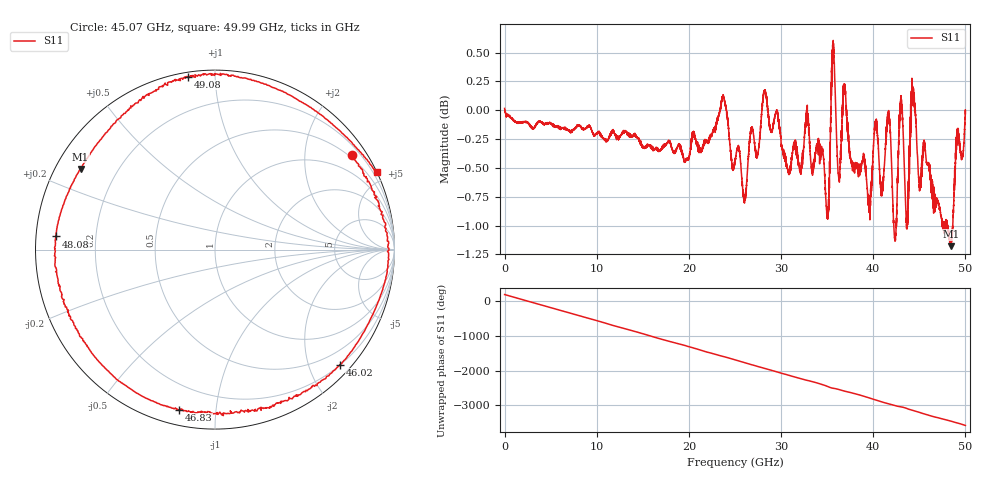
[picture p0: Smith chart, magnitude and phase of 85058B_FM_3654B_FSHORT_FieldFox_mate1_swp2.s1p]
!Created with skrf (http://scikit-rf.org).
# Hz S RI R 50.0
!freq ReS11 ImS11
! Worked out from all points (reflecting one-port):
!   10000 points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, 5.3 MHz to 50 GHz, reference 50 ohm
!   lowest |S11| = -1.2 dB at 48.42 GHz (marker M1), VSWR 14.76, Z = 3.65 + j13.8 ohm
!   phase of S11 starts at 180 deg and turns -3755 deg over the sweep
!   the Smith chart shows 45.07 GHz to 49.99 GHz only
!   S11 on the Smith chart (normalised r, x): 45.07 GHz: 0.43, +3.15; 46.02 GHz: 0.20, -2.54; 46.83 GHz: 0.07, -0.80; 48.08 GHz: 0.06, +0.04; 49.08 GHz: 0.02, +0.85; 49.99 GHz: 0.02, +4.41
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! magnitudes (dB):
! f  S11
! 5.3 MHz  0.0
! 6.255 GHz  -0.2
! 12.51 GHz  -0.2
! 18.76 GHz  -0.3
! 23.74 GHz  0.1
! 25.01 GHz  -0.4
! 26.07 GHz  -0.8
! 28.25 GHz  0.2
! 31.26 GHz  -0.4
! 35.01 GHz  -0.9
! 35.68 GHz  0.5
! 36.24 GHz  -0.6
! 36.88 GHz  0.2
! 37.51 GHz  -0.4
! 39.58 GHz  -0.8
! 41.66 GHz  0.0
! 42.35 GHz  -1.1
! 43.04 GHz  0.1
! 43.76 GHz  -0.9
! 44.32 GHz  0.1
! 45.07 GHz  -0.7
! 46.02 GHz  -0.5
! 46.83 GHz  -0.8
! 48.08 GHz  -1.0
! 48.42 GHz  -1.2
! 49.08 GHz  -0.2
! 49.99 GHz  0.0
! 50 GHz  0.0
